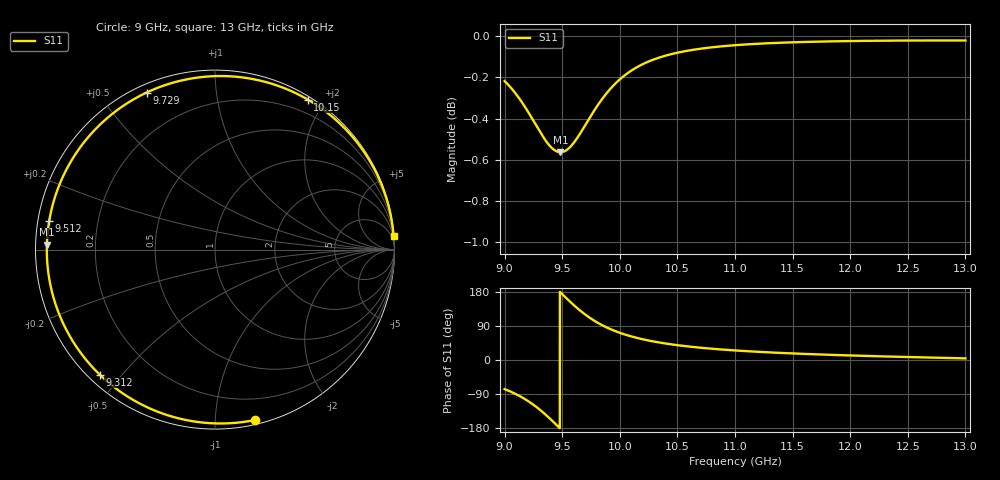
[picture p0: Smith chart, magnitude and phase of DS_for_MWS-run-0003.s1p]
! TOUCHSTONE file generated by CST DESIGN STUDIO
! Date and time: Tue Feb  4 18:07:11 2025
! Project name: C:\Work\MatlabApps\UnitCellOptimizationMatlab\CST\unitcell.cst
! Tree item: Tasks\Sweep1\SPara1\S-Parameters
! Header version: 2024
! Port assignment regex: !\s*Touchstone port\s*([0-9]+)\s*=\s*(CST MWS port|CST DES external port|CST DES block port)\s*(.+)\s* \(\"(.*)\"\)(\s*mode\s*([0-9]+))?.*
! Touchstone port assignment:
! Touchstone port 1 = CST DES external port 1 ("")
# GHz S MA R 50
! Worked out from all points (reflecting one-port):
!   4001 points, 9 GHz to 13 GHz, reference 50 ohm
!   lowest |S11| = -0.6 dB at 9.485 GHz (marker M1), VSWR 30.85, Z = 1.62 + j0.728 ohm
!   phase of S11 starts at -77 deg and turns -279 deg over the sweep
!   S11 on the Smith chart (normalised r, x): 9 GHz: 0.03, -1.26; 9.312 GHz: 0.03, -0.44; 9.512 GHz: 0.03, +0.09; 9.729 GHz: 0.03, +0.65; 10.15 GHz: 0.04, +1.79; 13 GHz: 1, +26
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9  0.9753 -76.9
9.079  0.9698 -87.2
9.178  0.9612 -103.5
9.247  0.9542 -117.4
9.312  0.9475 -132.7
9.358  0.9432 -144.8
9.406  0.9397 -158.3
9.446  0.9378 -170.0
9.485  0.9372 178.3
9.5  0.9373 173.8
9.512  0.9375 170.3
9.564  0.9396 155.0
9.624  0.9441 138.5
9.676  0.9491 125.5
9.729  0.9545 113.5
9.783  0.9598 102.8
9.844  0.9653 92.3
9.921  0.9713 81.1
10  0.9762 71.8
10.149  0.9829 58.3
10.308  0.9874 48.0
10.5  0.9909 39.1
10.722  0.9933 31.8
11  0.995 25.2
11.5  0.9967 17.3
12  0.9974 11.9
12.5  0.9977 7.8
13  0.9977 4.3
